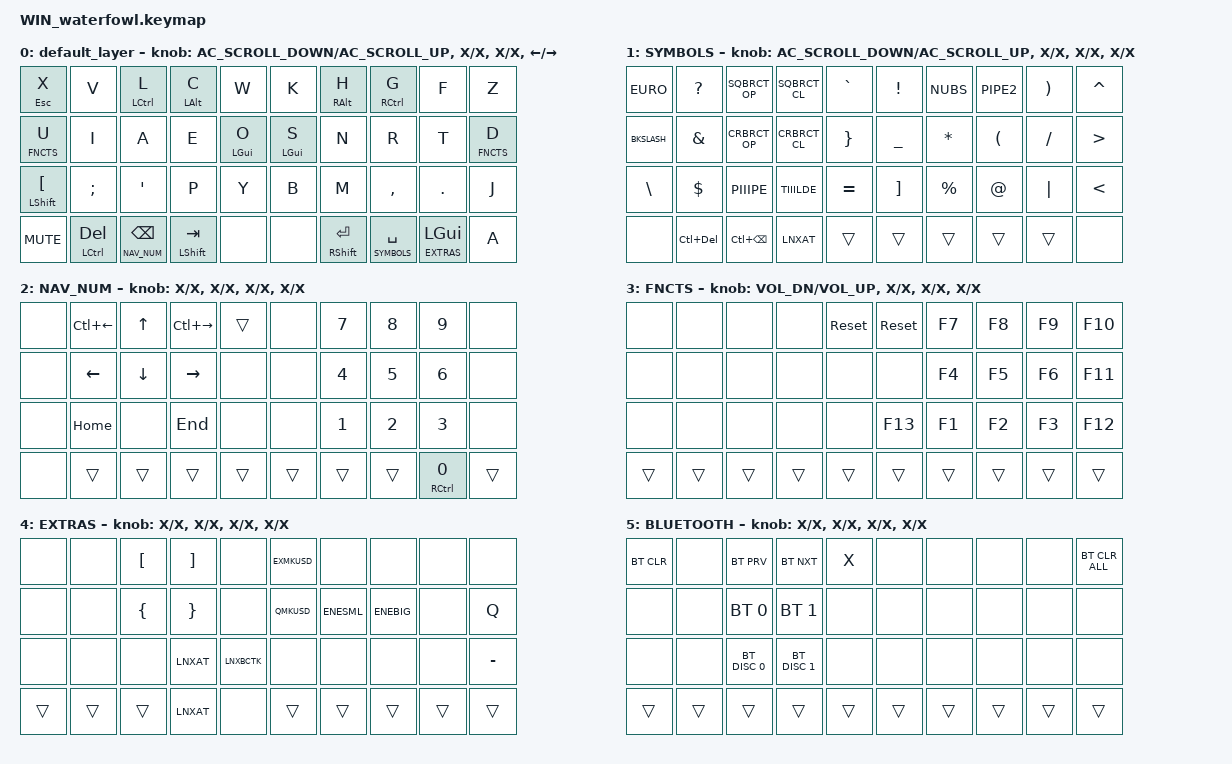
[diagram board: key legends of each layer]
/*
 * Copyright (c) 2022 The ZMK Contributors
 *
 * SPDX-License-Identifier: MIT
 */

#include <behaviors.dtsi>
#include <dt-bindings/zmk/keys.h>
#include <dt-bindings/zmk/bt.h>

/*
0. Layer: _NEOBASE 		// Base Layer mit NEO
1. Layer: _SYMBOLES 	// Symbole
2. Layer: _NAV_NUM 		// Navigation & Number Blocks
3. Layer: _FNCTS        // FN Keys & Mouse Keys
4. Layer: _EXTRAS       // Extra Symbols and Keys 

*/



#define   NEO           0 
#define   SYMBOLS       1
#define   NAV_NUM       2
#define   FNCTS         3
#define   EXTRAS        4
#define   BLUETOOTH     5



/ {
    macros {
        EURO: EURO { compatible = "zmk,behavior-macro"; #binding-cells = <0>; bindings
                        = <&macro_press &kp LALT>
                        , <&macro_tap &kp KP_N0 &kp KP_N1 &kp KP_N2 &kp KP_N8>
                        , <&macro_release &kp LALT>
                        ;
        };
        
        SQBRCT_OP: SQBRCT_OP { compatible = "zmk,behavior-macro"; #binding-cells = <0>; bindings
                        = <&macro_press &kp LALT>
                        , <&macro_tap &kp KP_N9 &kp KP_N1>
                        , <&macro_release &kp LALT>
                        ;
        };
        
        SQBRCT_CL: SQBRCT_CL { compatible = "zmk,behavior-macro"; #binding-cells = <0>; bindings
                        = <&macro_press &kp LALT>
                        , <&macro_tap &kp KP_N9 &kp KP_N3>
                        , <&macro_release &kp LALT>
                        ;
        };

        CRBRCT_OP: CRBRCT_OP { compatible = "zmk,behavior-macro"; #binding-cells = <0>; bindings
                        = <&macro_press &kp LALT>
                        , <&macro_tap &kp KP_N1 &kp KP_N2 &kp KP_N3>
                        , <&macro_release &kp LALT>
                        ;
        };
        
        CRBRCT_CL: CRBRCT_CL { compatible = "zmk,behavior-macro"; #binding-cells = <0>; bindings
                        = <&macro_press &kp LALT>
                        , <&macro_tap &kp KP_N1 &kp KP_N2 &kp KP_N5>
                        , <&macro_release &kp LALT>
                        ;
        };
        
        BKSLASH: BKSLASH { compatible = "zmk,behavior-macro"; #binding-cells = <0>; bindings
                        = <&macro_press &kp LALT>
                        , <&macro_tap &kp KP_N9 &kp KP_N2>
                        , <&macro_release &kp LALT>
                        ;
        };
        
        PIIIPE: PIIIPE { compatible = "zmk,behavior-macro"; #binding-cells = <0>; bindings
                        = <&macro_press &kp LALT>
                        , <&macro_tap &kp KP_N1 &kp KP_N2 &kp KP_N4>
                        , <&macro_release &kp LALT>
                        ;
        };
        
        TIIILDE: TIIILDE { compatible = "zmk,behavior-macro"; #binding-cells = <0>; bindings
                        = <&macro_press &kp LALT>
                        , <&macro_tap &kp KP_N1 &kp KP_N2 &kp KP_N6>
                        , <&macro_release &kp LALT>
                        ;
        };

        LNXBCTK: LNXBCTK { compatible = "zmk,behavior-macro"; #binding-cells = <0>; bindings
                        = <&macro_wait_time 5>     // 5 ms works
                        , <&macro_tap_time 10>      // 10 ms works 
                        , <&macro_press &kp LSHFT>
                        , <&macro_press &kp LCTRL>
                        , <&macro_tap &kp U>
                        , <&macro_release &kp LCTRL>
                        , <&macro_release &kp LSHFT>
                        , <&macro_tap &kp N0 &kp N0 &kp N6 &kp N0 &kp SPACE>
                        ;
        };

        AAAT: AAAT { compatible = "zmk,behavior-macro"; #binding-cells = <0>; bindings
                        = <&macro_press &kp LALT>
                        , <&macro_tap &kp KP_N6 &kp KP_N4>
                        , <&macro_release &kp LALT>
                        ;
        };

        LNXAT: LNXAT { compatible = "zmk,behavior-macro"; #binding-cells = <0>; bindings
                        = <&macro_wait_time 5>     // 5 ms works
                        , <&macro_tap_time 10>      // 10 ms works @
                        , <&macro_press &kp LSHFT>
                        , <&macro_press &kp LCTRL>
                        , <&macro_tap &kp U>
                        , <&macro_release &kp LCTRL>
                        , <&macro_release &kp LSHFT>
                        , <&macro_tap &kp N0 &kp N0 &kp N4 &kp N0 &kp SPACE>
                        ;
        };

        ENESML: ENESML { compatible = "zmk,behavior-macro"; #binding-cells = <0>; bindings
                        = <&macro_press &kp LALT>
                        , <&macro_tap &kp KP_N1 &kp KP_N6 &kp KP_N4>
                        , <&macro_release &kp LALT>
                        ;
        };

        ENEBIG: ENEBIG { compatible = "zmk,behavior-macro"; #binding-cells = <0>; bindings
                        = <&macro_press &kp LALT>
                        , <&macro_tap &kp KP_N1 &kp KP_N6 &kp KP_N5>
                        , <&macro_release &kp LALT>
                        ;
        };

        QMKUSD: QMKUSD { compatible = "zmk,behavior-macro"; #binding-cells = <0>;
                bindings
                        = <&macro_press &kp LALT>
                        , <&macro_tap &kp KP_N1 &kp KP_N6 &kp KP_N8>
                        , <&macro_release &kp LALT>
                        ;
        };

        EXMKUSD: EXMKUSD { compatible = "zmk,behavior-macro"; #binding-cells = <0>;
                bindings
                        = <&macro_press &kp LALT>
                        , <&macro_tap &kp KP_N1 &kp KP_N7 &kp KP_N3>
                        , <&macro_release &kp LALT>
                        ;
        };
// MISSING Symbole codes: https://www.alt-codes.net/
    };
};


/ {
    behaviors {
        kam: key_and_mod {
            compatible = "zmk,behavior-hold-tap";
            #binding-cells = <2>;
            flavor = "tap-preferred";
            tapping-term-ms = <235>;
            quick-tap-ms = <125>;
            global-quick-tap;
            bindings = <&kp>, <&kp>;
        };

        lak: layer_and_key {
            compatible = "zmk,behavior-hold-tap";
            #binding-cells = <2>;
            flavor = "balanced";
            tapping-term-ms = <160>;
            quick-tap-ms = <222>;
            bindings = <&mo>, <&kp>;
        };

        mak: mod_and_key {
            compatible = "zmk,behavior-hold-tap";
            #binding-cells = <2>;
            flavor = "balanced";
            tapping-term-ms = <160>;
            quick-tap-ms = <222>;
            bindings = <&kp>, <&kp>;
        };

        /* this shit is so ESC acts like X when CTRL is pressed
        esc_ctrl_X: ESC_CTRL_X {
            compatible = "zmk,behavior-mod-morph";
            #binding-cells = <0>;
            bindings = <&kp ESC>, <&kp X>;
            mods = <(MOD_LCTL|MOD_RCTL)>;
            keep-mods = <(MOD_LCTL)>;
        };*/

        xEsc: x_and_esc {
            compatible = "zmk,behavior-hold-tap";
            #binding-cells = <2>;
            flavor = "tap-preferred";
            tapping-term-ms = <222>;
            quick-tap-ms = <150>;
            bindings = <&kp>, <&kp>;
        };

        esc_X_TD: ESC_X_TD {
            compatible = "zmk,behavior-tap-dance";
            #binding-cells = <0>;
            tapping-term-ms = <175>;
            bindings = <&kp X>, <&kp ESC>;
        };

    };
}; 


/ {
    combos {
        compatible = "zmk,combos";
                combo_space {
                timeout-ms = <50>;
                key-positions = <12 13>; // A & E
                bindings = <&kp SPACE>;
        };

        compatible = "zmk,combos";
                combo_enter {
                timeout-ms = <50>;
                key-positions = <22 23>; // Ä & P
                bindings = <&kp ENTER>;
        };
        
        compatible = "zmk,combos";
                combo_BT_Layer {
                timeout-ms = <50>;
                key-positions = <25 18>; // B & T 
                bindings = <&mo BLUETOOTH>; 
        };
        
    };
};


/ {
    keymap {
        compatible = "zmk,keymap";

        default_layer 
        {
            /* NEO
            *                    ┌───┬───┬───┬───┐                        ┌───┬───┬───┬───┐
            *                ┌───┤ V │ L │ C │ W │                        │ K │ H │ G │ F ├───┐
            *                │ X ├───┼───┼───┼───┤                        ├───┼───┼───┼───┤ Y │
            *                ├───┤ I │ A │ E │ O │                        │ S │ N │ R │ T ├───┤
            *                │ U ├───┼───┼───┼───┤ ----              ---- ├───┼───┼───┼───┤ D │
            *                ├───┤ Ö │ Ä │ P │ Z │|    |            |    |│ B │ M │ : │ . ├───┤
            *                │ Ü ├───┴───┴───┴───┘ ----              ---- └───┴───┴───┴───┤ J │
            *                └───┘ ----- ┌─────┬─────┬─────┐    ┌─────┬─────┬─────┐ ----- └───┘
            *                TAP: |VOLUM|│ DEL │BCKSP│ TAB │    │ENTER│SPACE│ GUI ││     │
            *              PRESS: |MUTE |│ CTRL│NAVNM│SHIFT│    │SHIFT│SYMBL│EXTRS││     │
            *                      ----- └─────┴─────┴─────┘    └─────┴─────┴─────┘ -----
            */

            bindings = <
                &xEsc ESC X     &kp V           &kam LCTRL L      &kam LALT C    &kp W           &kp K       &kam RALT H         &kam RCTRL G        &kp F             &kp Z
                &lt FNCTS U     &kp I           &kp A             &kp E          &kam LGUI O     &kam LGUI S &kp N               &kp R               &kp T             &lt FNCTS D
                &kam LSHFT LBKT &kp SEMI        &kp APOS          &kp P          &kp Y           &kp B       &kp M               &kp COMMA           &kp DOT           &kp J
                &kp C_MUTE      &mak LCTRL DEL  &lak NAV_NUM BSPC &mak LSHFT TAB &none           &none       &mak RSHFT ENTER    &lak SYMBOLS SPACE  &lak EXTRAS LGUI   &kp A
            >;

            sensor-bindings = <
                &inc_dec_kp C_AC_SCROLL_DOWN C_AC_SCROLL_UP
                &inc_dec_kp X X
                &inc_dec_kp X X
                &inc_dec_kp LEFT RIGHT
            >;
        };


        SYMBOLS 
        {
            /* SYM
            *
            *                    ┌───┬───┬───┬───┐                            ┌───┬───┬───┬───┐           
            *                ┌───┤ _ │ [ │ ] │ ^ │                            │ ! │ < │ > │ = ├───┐
            *                │ € ├───┼───┼───┼───┤                            ├───┼───┼───┼───┤ & │
            *                ├───┤ / │ { │ } │ * │                            │ ? │ ( │ ) │ - ├───┤
            *                │ \ ├───┼───┼───┼───┤ ----                  ---- ├───┼───┼───┼───┤ : │
            *                ├───┤ $ │ | │ ~ │ ´ │|    |                |    |│ + │ % │ " │ ' ├───┤
            *                │ # ├───┴───┴───┴───┘ ----                  ---- └───┴───┴───┴───┤ ; │
            *                └───┘   ---- ┌────┬────┬────┐            ┌────┬────┬────┐ ----   └───┘
            *                       |    |│    │    │    │            │    │    │    ││    │
            *                        ---- └────┴────┴────┘            └────┴────┴────┘ ----
            */
                        
            bindings = <
                &EURO       &kp QMARK   &SQBRCT_OP  &SQBRCT_CL     &kp GRAVE               &kp EXCL        &kp NUBS        &kp PIPE2   &kp RPAR    &kp CARET
                &BKSLASH    &kp AMPS    &CRBRCT_OP  &CRBRCT_CL     &kp RBRC                &kp UNDER       &kp STAR        &kp LPAR    &kp FSLH    &kp GT
                &kp BSLH    &kp DLLR    &PIIIPE     &TIIILDE       &kp EQUAL               &kp RBKT        &kp PRCNT       &kp AT      &kp PIPE    &kp LT
                &none       &kp LC(DEL) &kp LC(BSPC) &LNXAT        &trans                  &trans          &trans         &trans       &trans       &none 
            >;
            
            sensor-bindings = <
                &inc_dec_kp C_AC_SCROLL_DOWN C_AC_SCROLL_UP
                &inc_dec_kp X X
                &inc_dec_kp X X
                &inc_dec_kp X X
            >;
        };


        NAV_NUM {

            /* NAVNUM
            *
            * ,----------------------------------.                      ,----------------------------------.
            * |      | PgUp |  UP  | PgDn |      |                      |   /  |   7  |   8  |   9  |   -  |
            * |------+------+------+------+------|                      |------+------+------+------+------|
            * | Home | Left | Down | Right| End  |                      |   =  |   4  |   5  |   6  |   +  |
            * |------+------+------+------+------|  ,-----.    ,-----.  |------+------+------+------+------|
            * |      |      |  INS |      |      |  |  2  |    |  3  |  |   0  |   1  |   2  |   3  |   *  |
            * `----------------------------------'  `-----'    `-----'  `----------------------------------'
            *          ,-----.   ,--------------------.            ,--------------------.   ,-----.
            *          |  1  |   | DEL | SPACE | MO(3)|            |  ESC  | BS | ENTER |   |  4  |
            *          `-----'   `--------------------'            `--------------------'   `-----'
            */

            bindings = <
                &none       &kp LC(LEFT) &kp UP      &kp LC(RIGHT) &trans              &none     &kp N7  &kp N8      &kp N9      &none 
                &none       &kp LEFT     &kp DOWN    &kp RIGHT     &none               &none     &kp N4  &kp N5      &kp N6      &none 
                &none       &kp HOME     &none       &kp END       &none               &none     &kp N1  &kp N2      &kp N3      &none 
                &none       &trans       &trans      &trans        &trans              &trans    &trans  &trans      &mt RCTRL N0 &trans 
            >;

            sensor-bindings = <
                &inc_dec_kp X X
                &inc_dec_kp X X
                &inc_dec_kp X X
                &inc_dec_kp X X
            >;
        };


        FNCTS 
        {

            /* FUNC
            *
            * ,----------------------------------.                      ,----------------------------------.
            * |      |      |      |      |      |                      | Reset|  F7  |  F8  |  F9  |  F11 |
            * |------+------+------+------+------|                      |------+------+------+------+------|
            * |      |      | Mouse Keys!!|      |                      |      |  F4  |  F5  |  F6  |  F12 |
            * |------+------+------+------+------|  ,-----.    ,-----.  |------+------+------+------+------|
            * |      |      |      |      |      |  |  2  |    |  3  |  |  F10 |  F1  |  F2  |  F3  |  F13 |
            * `----------------------------------'  `-----'    `-----'  `----------------------------------'
            *          ,-----.   ,--------------------.            ,--------------------.   ,-----.
            *          |  1  |   | DEL | SPACE | TAB  |            |  ESC  | BS | ENTER |   |  4  |
            *          `-----'   `--------------------'            `--------------------'   `-----'
            */
                    
            bindings = <
                &none           &none           &none           &none           &sys_reset          &sys_reset  &kp F7  &kp F8      &kp F9      &kp F10
                &none           &none           &none           &none           &none               &none       &kp F4  &kp F5      &kp F6      &kp F11
                &none           &none           &none           &none           &none               &kp F13     &kp F1  &kp F2      &kp F3      &kp F12
                &trans          &trans          &trans          &trans          &trans              &trans      &trans  &trans      &trans      &trans 
            >;

            sensor-bindings = <
                &inc_dec_kp C_VOL_DN C_VOL_UP
                &inc_dec_kp X X
                &inc_dec_kp X X
                &inc_dec_kp X X
            >;
        };

        EXTRAS 
        {

            /* EXTRAS: 
            *                    ┌───┬───┬───┬───┐                            ┌───┬───┬───┬───┐           
            *                ┌───┤   │   │   │   │                            │   │   │   │   ├───┐
            *                │   ├───┼───┼───┼───┤                            ├───┼───┼───┼───┤   │
            *                ├───┤   │   │   │   │                            │   │   │   │   ├───┤
            *                │   ├───┼───┼───┼───┤ ----                  ---- ├───┼───┼───┼───┤ Q │
            *                ├───┤   │   │   │   │|    |                |    |│   │   │   │   ├───┤
            *                │   ├───┴───┴───┴───┘ ----                  ---- └───┴───┴───┴───┤ ß │
            *                └───┘   ---- ┌───┬───┬───┐                  ┌───┬───┬───┐ ----   └───┘
            *                       |    |│   │   │   │                  |   |   │   ││    │
            *                        ---- └───┴───┴───┘                  └───┴───┴───┘ ----
            */ 

            bindings = <
                &none           &none           &kp LBKT        &kp RBKT        &none               &EXMKUSD    &none       &none       &none       &none
                &none           &none           &kp LBRC        &kp RBRC        &none               &QMKUSD     &ENESML     &ENEBIG     &none       &kp Q
                &none           &none           &none           &LNXAT          &LNXBCTK            &none       &none       &none       &none       &kp MINUS // MINUS = ß
                &trans          &trans          &trans          &LNXAT          &none               &trans      &trans      &trans      &trans      &trans 
            >;

            sensor-bindings = <
                &inc_dec_kp X X
                &inc_dec_kp X X
                &inc_dec_kp X X
                &inc_dec_kp X X
            >;
        };
    
        BLUETOOTH 
        {
            /* BLUETOOTH
            *                    ┌───┬───┬───┬───┐                            ┌───┬───┬───┬───┐           
            *                ┌───┤   │BTP│BTN│ x │                            │   │   │   │   ├───┐
            *                │BTC├───┼───┼───┼───┤                            ├───┼───┼───┼───┤   │
            *                ├───┤   │BS0│BS1│   │                            │   │   │   │   ├───┤
            *                │   ├───┼───┼───┼───┤ ----                  ---- ├───┼───┼───┼───┤   │
            *                ├───┤   │BD0│BD1│   │|    |                |    |│   │   │   │   ├───┤
            *                │   ├───┴───┴───┴───┘ ----                  ---- └───┴───┴───┴───┤   │
            *                └───┘   ---- ┌────┬────┬────┐            ┌────┬────┬────┐ ----   └───┘
            *                       |    |│    │    │    │            │    │    │    ││    │
            *                        ---- └────┴────┴────┘            └────┴────┴────┘ ----
            */
            bindings = <
                &bt BT_CLR      &none           &bt BT_PRV         &bt BT_NXT         &kp X               &none       &none       &none       &none       &bt BT_CLR_ALL
                &none           &none           &bt BT_SEL 0       &bt BT_SEL 1       &none               &none       &none       &none       &none       &none
                &none           &none           &bt BT_DISC 0      &bt BT_DISC 1      &none               &none       &none       &none       &none       &none
                &trans          &trans          &trans             &trans             &trans              &trans      &trans      &trans      &trans      &trans 
            >;

            sensor-bindings = <
                &inc_dec_kp X X
                &inc_dec_kp X X
                &inc_dec_kp X X
                &inc_dec_kp X X
            >;
        };
    };
};


// ┏ ┗ ┓ ┛ ┣ ┫ ┳ ┻ ╋ ━ ┃
// ┌ └ ┐ ┘ ├ ┤ ┬ ┴ ┼ ─ │


/* TEMPLATE: (big keys)
 *                     ┌────┬────┬────┬────┐                       ┌────┬────┬────┬────┐
 *                ┌────┤    │    │    │    │                       │    │    │    │    ├────┐
 *                │    ├────┼────┼────┼────┤                       ├────┼────┼────┼────┤    │
 *                ├────┤    │    │    │    │                       │    │    │    │    ├────┤
 *                │    ├────┼────┼────┼────┤ -----            ---- ├────┼────┼────┼────┤    │
 *                ├────┤    │    │    │    │|     |          |    |│    │    │    │    ├────┤
 *                │    ├────┴────┴────┴────┘ -----            ---- └────┴────┴────┴────┤    │
 *                └────┘     ----- ┌─────┬─────┬─────┐    ┌─────┬─────┬─────┐ -----    └────┘
 *                          |     |│     │     │     │    │     │     │     ││     │
 *                           ----- └─────┴─────┴─────┘    └─────┴─────┴─────┘ -----
 */




/* small keys
 *                    ┌───┬───┬───┬───┐                            ┌───┬───┬───┬───┐           
 *                ┌───┤   │   │   │   │                            │   │   │   │   ├───┐
 *                │   ├───┼───┼───┼───┤                            ├───┼───┼───┼───┤   │
 *                ├───┤   │   │   │   │                            │   │   │   │   ├───┤
 *                │   ├───┼───┼───┼───┤ ----                  ---- ├───┼───┼───┼───┤   │
 *                ├───┤   │   │   │   │|    |                |    |│   │   │   │   ├───┤
 *                │   ├───┴───┴───┴───┘ ----                  ---- └───┴───┴───┴───┤   │
 *                └───┘   ---- ┌────┬────┬────┐            ┌────┬────┬────┐ ----   └───┘
 *                       |    |│    │    │    │            │    │    │    ││    │
 *                        ---- └────┴────┴────┘            └────┴────┴────┘ ----
 */



// ┌───┬───┬───┬───┬───┐           
// │   │   │   │   │   │
// ├───┼───┼───┼───┼───┤
// │   │   │   │   │   │
// ├───┼───┼───┼───┼───┤
// │   │   │   │   │   │
// └───┴───┴───┴───┴───┘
